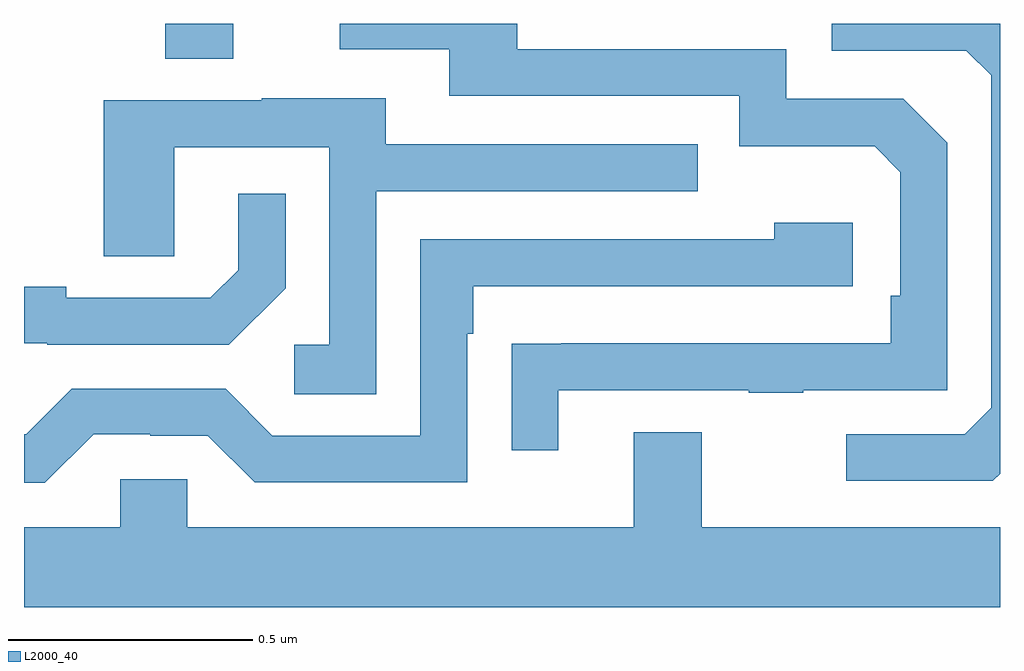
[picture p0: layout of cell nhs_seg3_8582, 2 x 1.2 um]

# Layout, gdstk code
import gdstk
lib = gdstk.Library(unit=1e-6, precision=1e-09)
def R(c, l, rs):  # rectangles x0, y0, x1, y1
    for r in rs: c.add(gdstk.rectangle(r[:2], r[2:], *l))
def P(c, l, *ps):  # polygons
    for p in ps: c.add(gdstk.Polygon(p, *l))
L2000_40 = (2000, 40)

nhs_seg3_8582 = lib.new_cell('nhs_seg3_8582')
R(nhs_seg3_8582, L2000_40, [(217.289,747.328,217.429,747.4)])
P(nhs_seg3_8582, L2000_40, [(218.095,746.649),(218.485,746.649),(218.485,746.644),(218.597,746.644),(218.597,746.649),(218.892,746.649),(218.892,747.156),(218.802,747.246),(218.562,747.246),(218.562,747.348),(218.011,747.348),(218.011,747.4),(217.647,747.4),(217.647,747.348),(217.871,747.348),(217.871,747.252),(218.466,747.252),(218.466,747.149),(218.743,747.149),(218.796,747.096),(218.796,746.842),(218.776,746.842),(218.776,746.745),(218.101,746.745),(218.101,746.744),(217.999,746.744),(217.999,746.526),(218.095,746.526)],
  [(219,746.478),(219,747.4),(218.655,747.4),(218.655,747.345),(218.931,747.345),(218.982,747.294),(218.982,746.613),(218.928,746.559),(218.685,746.559),(218.685,746.463),(218.985,746.463)],
  [(217.722,747.057),(218.381,747.057),(218.381,747.153),(217.741,747.153),(217.741,747.247),(217.487,747.247),(217.487,747.243),(217.163,747.243),(217.163,746.923),(217.308,746.923),(217.308,747.147),(217.626,747.147),(217.626,746.742),(217.554,746.742),(217.554,746.641),(217.722,746.641)],
  [(217.536,746.858),(217.536,747.052),(217.439,747.052),(217.439,746.895),(217.382,746.838),(217.087,746.838),(217.087,746.861),(217,746.861),(217,746.745),(217.048,746.745),(217.048,746.742),(217.42,746.742)],
  [(217.143,746.559),(217.259,746.559),(217.259,746.556),(217.377,746.556),(217.473,746.46),(217.908,746.46),(217.908,746.765),(217.921,746.765),(217.921,746.862),(218.698,746.862),(218.698,746.992),(218.537,746.992),(218.537,746.958),(217.812,746.958),(217.812,746.556),(217.509,746.556),(217.413,746.652),(217.098,746.652),(217.005,746.559),(217,746.559),(217,746.459),(217.043,746.459)],
  [(219,746.368),(218.389,746.368),(218.389,746.563),(218.249,746.563),(218.249,746.368),(217.335,746.368),(217.335,746.466),(217.197,746.466),(217.197,746.368),(217,746.368),(217,746.204),(219,746.204)])

lib.write_gds('nhs_seg3_8582.gds')
